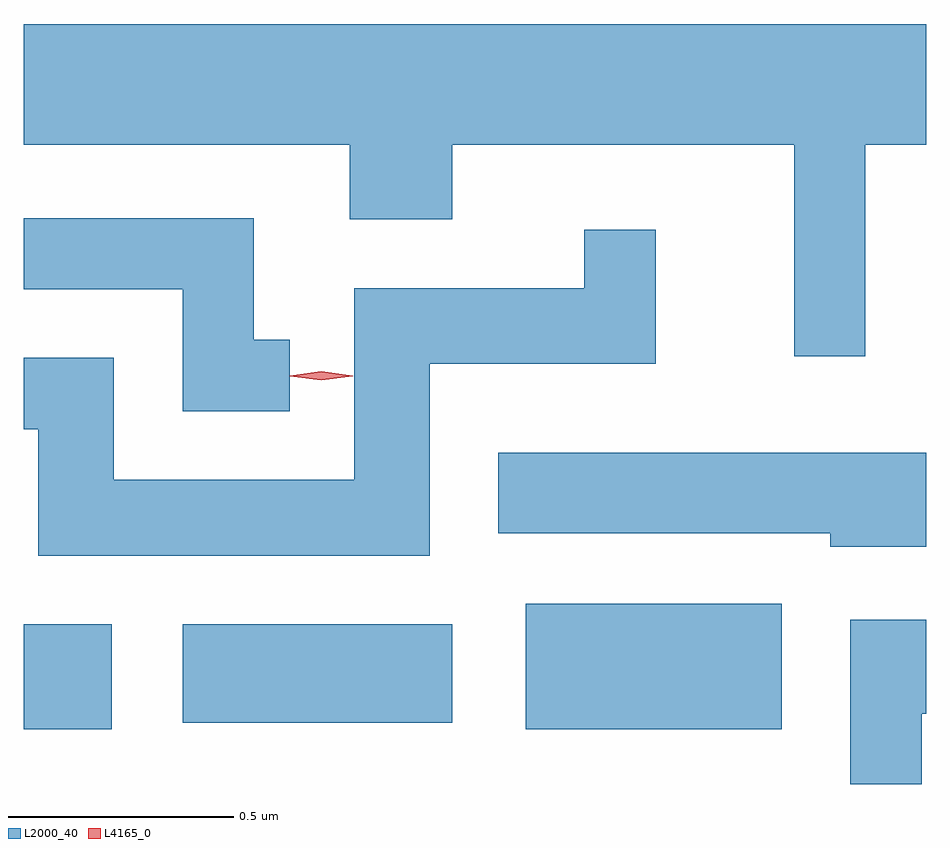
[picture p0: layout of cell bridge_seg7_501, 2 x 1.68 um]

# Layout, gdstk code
import gdstk
lib = gdstk.Library(unit=1e-6, precision=1e-09)
def R(c, l, rs):  # rectangles x0, y0, x1, y1
    for r in rs: c.add(gdstk.rectangle(r[:2], r[2:], *l))
def P(c, l, *ps):  # polygons
    for p in ps: c.add(gdstk.Polygon(p, *l))
L2000_40 = (2000, 40)
L4165_0 = (4165, 0)

bridge_seg7_501 = lib.new_cell('bridge_seg7_501')
R(bridge_seg7_501, L2000_40, [(1251.329,1699.701,1251.524,1699.934), (1252.441,1699.701,1253.009,1699.979), (1251.681,1699.716,1252.279,1699.934)])
P(bridge_seg7_501, L2000_40, [(1253.194,1700.996),(1253.329,1700.996),(1253.329,1701.264),(1251.329,1701.264),(1251.329,1700.996),(1252.051,1700.996),(1252.051,1700.831),(1252.279,1700.831),(1252.279,1700.996),(1253.036,1700.996),(1253.036,1700.528),(1253.194,1700.528)],
  [(1251.918,1700.564),(1251.839,1700.564),(1251.839,1700.834),(1251.329,1700.834),(1251.329,1700.676),(1251.681,1700.676),(1251.681,1700.406),(1251.918,1700.406)],
  [(1252.229,1700.511),(1252.729,1700.511),(1252.729,1700.808),(1252.571,1700.808),(1252.571,1700.679),(1252.061,1700.679),(1252.061,1700.254),(1251.529,1700.254),(1251.529,1700.524),(1251.329,1700.524),(1251.329,1700.366),(1251.361,1700.366),(1251.361,1700.086),(1252.229,1700.086)],
  [(1253.329,1700.314),(1252.381,1700.314),(1252.381,1700.136),(1253.116,1700.136),(1253.116,1700.106),(1253.329,1700.106)],
  [(1253.319,1699.736),(1253.329,1699.736),(1253.329,1699.944),(1253.161,1699.944),(1253.161,1699.58),(1253.319,1699.58)])
P(bridge_seg7_501, L4165_0, [(1251.988,1700.475),(1251.919,1700.484),(1251.919,1700.485),(1251.919,1700.485),(1251.988,1700.495),(1252.058,1700.485),(1252.058,1700.485),(1252.058,1700.484)])

lib.write_gds('bridge_seg7_501.gds')
